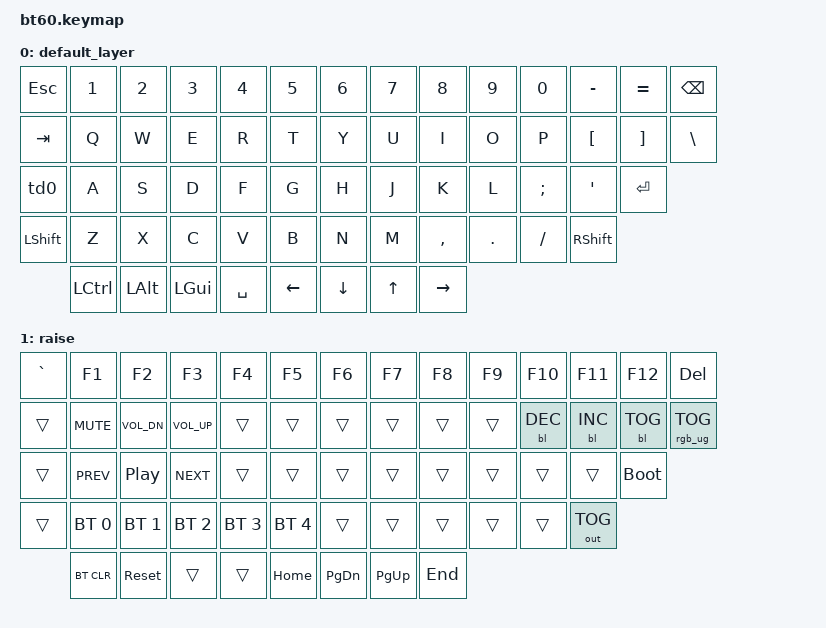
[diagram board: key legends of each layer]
#include <behaviors.dtsi>
#include <dt-bindings/zmk/backlight.h>
#include <dt-bindings/zmk/bt.h>
#include <dt-bindings/zmk/keys.h>
#include <dt-bindings/zmk/outputs.h>
#include <dt-bindings/zmk/rgb.h>

/ {
    behaviors {
        td0: td0 {
            compatible = "zmk,behavior-tap-dance";
            #binding-cells = <0>;
            bindings = <&mo 1>, <&caps_word>;
        };
    };

    keymap {
        compatible = "zmk,keymap";

        default_layer {
            // ------------------------------------------------------------------------------------------
            // |  `  |  1  |  2  |  3  |  4  |  5  |  6  |  7  |  8  |  9  |  0  |  -  |  =  |   BKSP
            // | TAB  |  Q  |  W  |  E  |  R  |  T  |  Y  |  U  |  I  |  O  |  P  |  [  |  ]  |   |
            // | CAPS  |  A  |  S  |  D  |  F  |  G  |  H  |  J  |  K  |  L  |  ;  |  '  |     ENTER
            // |  SHIFT    |  Z  |  X  |  C  |  V  |  B  |  N  |  M  |  ,  |  .  | /   |      SHIFT
            // |  CTL  |  ALT  |  CMD  |            SPACE               |  ←  |  ↓  |  ↑  |  →
            // ------------------------------------------------------------------------------------------

            bindings = <
&kp ESC    &kp N1     &kp N2    &kp N3    &kp N4     &kp N5          &kp N6          &kp N7        &kp N8           &kp N9   &kp N0    &kp MINUS  &kp EQUAL  &kp BSPC
&kp TAB    &kp Q      &kp W     &kp E     &kp R      &kp T           &kp Y           &kp U         &kp I            &kp O    &kp P     &kp LBKT   &kp RBKT   &kp BSLH
&td0       &kp A      &kp S     &kp D     &kp F      &kp G           &kp H           &kp J         &kp K            &kp L    &kp SEMI  &kp SQT    &kp RET
&kp LSHFT  &kp Z      &kp X     &kp C     &kp V      &kp B           &kp N           &kp M         &kp COMMA        &kp DOT  &kp FSLH  &kp RSHFT
           &kp LCTRL  &kp LALT  &kp LGUI  &kp SPACE  &kp LEFT_ARROW  &kp DOWN_ARROW  &kp UP_ARROW  &kp RIGHT_ARROW
            >;
        };

        raise {
            bindings = <
&kp GRAVE  &kp F1        &kp F2            &kp F3        &kp F4        &kp F5        &kp F6     &kp F7     &kp F8   &kp F9  &kp F10     &kp F11       &kp F12      &kp DEL
&trans     &kp C_MUTE    &kp C_VOL_DN      &kp C_VOL_UP  &trans        &trans        &trans     &trans     &trans   &trans  &bl BL_DEC  &bl BL_INC    &bl BL_TOG   &rgb_ug RGB_TOG
&trans     &kp C_PREV    &kp C_PLAY_PAUSE  &kp C_NEXT    &trans        &trans        &trans     &trans     &trans   &trans  &trans      &trans        &bootloader
&trans     &bt BT_SEL 0  &bt BT_SEL 1      &bt BT_SEL 2  &bt BT_SEL 3  &bt BT_SEL 4  &trans     &trans     &trans   &trans  &trans      &out OUT_TOG
           &bt BT_CLR    &sys_reset            &trans        &trans        &kp HOME      &kp PG_DN  &kp PG_UP  &kp END
            >;
        };
    };
};
